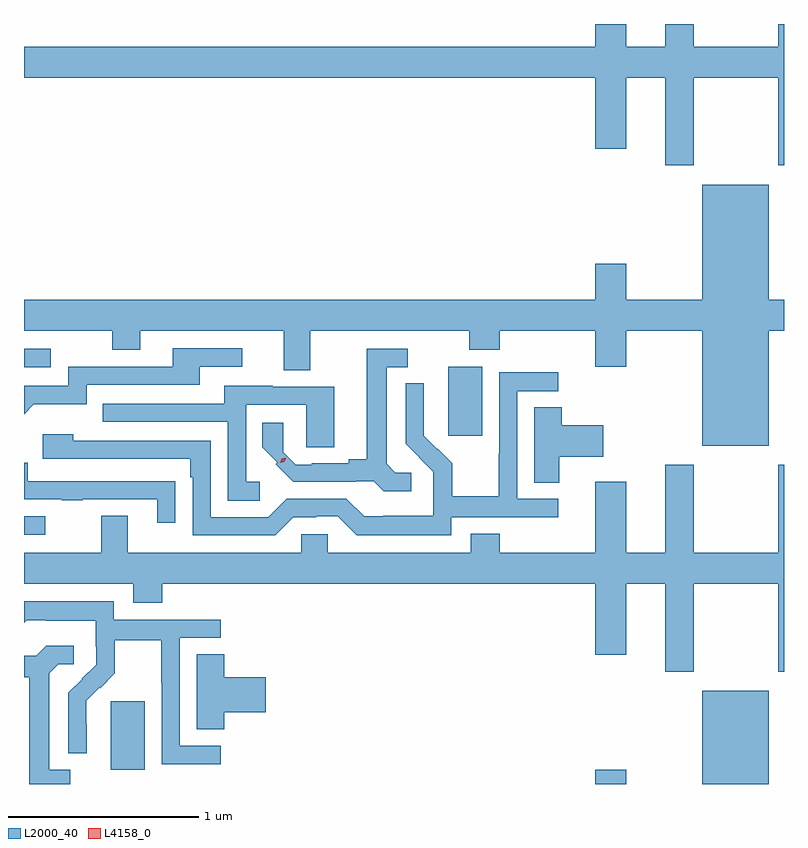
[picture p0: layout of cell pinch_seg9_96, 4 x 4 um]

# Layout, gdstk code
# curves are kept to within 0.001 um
import gdstk
lib = gdstk.Library(unit=1e-6, precision=1e-09)
def R(c, l, rs):  # rectangles x0, y0, x1, y1
    for r in rs: c.add(gdstk.rectangle(r[:2], r[2:], *l))
def P(c, l, *ps):  # polygons
    for p in ps: c.add(gdstk.Polygon(p, *l))
L2000_40 = (2000, 40)
L4158_0 = (4158, 0)

pinch_seg9_96 = lib.new_cell('pinch_seg9_96')
R(pinch_seg9_96, L2000_40, [(1147.802,1190.039,1147.966,1190.113), (1148.366,1190.039,1148.716,1190.53), (1145.252,1190.114,1145.431,1190.475), (1144.795,1191.351,1144.906,1191.447), (1147.028,1191.873,1147.207,1192.234), (1144.795,1192.233,1144.936,1192.329)])
P(pinch_seg9_96, L2000_40, [(1148.319,1193.756),(1148.764,1193.756),(1148.764,1193.295),(1148.795,1193.295),(1148.795,1194.039),(1148.764,1194.039),(1148.764,1193.92),(1148.319,1193.92),(1148.319,1194.039),(1148.171,1194.039),(1148.171,1193.92),(1147.966,1193.92),(1147.966,1194.039),(1147.802,1194.039),(1147.802,1193.92),(1144.795,1193.92),(1144.795,1193.756),(1147.802,1193.756),(1147.802,1193.382),(1147.966,1193.382),(1147.966,1193.756),(1148.171,1193.756),(1148.171,1193.295),(1148.319,1193.295)],
  [(1148.716,1192.424),(1148.795,1192.424),(1148.795,1192.588),(1148.716,1192.588),(1148.716,1193.194),(1148.366,1193.194),(1148.366,1192.588),(1147.966,1192.588),(1147.966,1192.777),(1147.802,1192.777),(1147.802,1192.588),(1144.795,1192.588),(1144.795,1192.424),(1145.26,1192.424),(1145.26,1192.325),(1145.407,1192.325),(1145.407,1192.424),(1146.161,1192.424),(1146.161,1192.216),(1146.301,1192.216),(1146.301,1192.424),(1147.138,1192.424),(1147.138,1192.325),(1147.298,1192.325),(1147.298,1192.424),(1147.802,1192.424),(1147.802,1192.236),(1147.966,1192.236),(1147.966,1192.424),(1148.366,1192.424),(1148.366,1191.818),(1148.716,1191.818)],
  [(1144.847,1192.037),(1145.124,1192.037),(1145.124,1192.14),(1145.719,1192.14),(1145.719,1192.236),(1145.944,1192.236),(1145.944,1192.332),(1145.579,1192.332),(1145.579,1192.236),(1145.028,1192.236),(1145.028,1192.134),(1144.795,1192.134),(1144.795,1191.985)],
  [(1146.832,1191.678),(1146.75,1191.678),(1146.703,1191.725),(1146.703,1192.233),(1146.814,1192.233),(1146.814,1192.329),(1146.599,1192.329),(1146.599,1191.749),(1146.503,1191.749),(1146.503,1191.726),(1146.31,1191.726),(1146.31,1191.72),(1146.225,1191.72),(1146.159,1191.786),(1146.159,1191.94),(1146.049,1191.94),(1146.049,1191.811),(1146.129,1191.732),(1146.12,1191.723),(1146.213,1191.63),(1146.542,1191.63),(1146.542,1191.633),(1146.636,1191.633),(1146.688,1191.581),(1146.832,1191.581)],
  [(1147.044,1191.444),(1147.606,1191.444),(1147.606,1191.54),(1147.392,1191.54),(1147.392,1192.107),(1147.606,1192.107),(1147.606,1192.206),(1147.296,1192.206),(1147.296,1191.776),(1147.294,1191.776),(1147.294,1191.553),(1147.049,1191.553),(1147.049,1191.727),(1146.972,1191.804),(1146.969,1191.801),(1146.899,1191.872),(1146.9,1192.148),(1146.804,1192.148),(1146.804,1191.83),(1146.95,1191.682),(1146.95,1191.585),(1146.948,1191.585),(1146.948,1191.451),(1146.685,1191.451),(1146.685,1191.447),(1146.585,1191.447),(1146.492,1191.54),(1146.177,1191.54),(1146.081,1191.444),(1145.778,1191.444),(1145.778,1191.846),(1145.054,1191.846),(1145.054,1191.88),(1144.893,1191.88),(1144.893,1191.75),(1145.669,1191.75),(1145.669,1191.653),(1145.682,1191.653),(1145.682,1191.348),(1146.117,1191.348),(1146.213,1191.444),(1146.332,1191.444),(1146.332,1191.447),(1146.447,1191.447),(1146.547,1191.347),(1147.044,1191.347)],
  [(1146.037,1191.63),(1145.964,1191.63),(1145.964,1192.035),(1146.281,1192.035),(1146.281,1191.811),(1146.427,1191.811),(1146.427,1192.131),(1146.103,1192.131),(1146.103,1192.135),(1145.849,1192.135),(1145.849,1192.041),(1145.209,1192.041),(1145.209,1191.945),(1145.868,1191.945),(1145.868,1191.529),(1146.037,1191.529)],
  [(1147.612,1191.761),(1147.843,1191.761),(1147.843,1191.927),(1147.625,1191.927),(1147.625,1192.022),(1147.481,1192.022),(1147.481,1191.625),(1147.612,1191.625)],
  [(1145.591,1191.632),(1145.489,1191.632),(1145.489,1191.633),(1144.814,1191.633),(1144.814,1191.73),(1144.795,1191.73),(1144.795,1191.537),(1144.993,1191.537),(1144.993,1191.532),(1145.105,1191.532),(1145.105,1191.537),(1145.495,1191.537),(1145.495,1191.414),(1145.591,1191.414)],
  [(1148.319,1191.092),(1148.764,1191.092),(1148.764,1190.631),(1148.795,1190.631),(1148.795,1191.718),(1148.764,1191.718),(1148.764,1191.256),(1148.319,1191.256),(1148.319,1191.718),(1148.171,1191.718),(1148.171,1191.256),(1147.966,1191.256),(1147.966,1191.631),(1147.802,1191.631),(1147.802,1191.256),(1147.298,1191.256),(1147.298,1191.355),(1147.145,1191.355),(1147.145,1191.256),(1146.393,1191.256),(1146.393,1191.354),(1146.255,1191.354),(1146.255,1191.256),(1145.341,1191.256),(1145.341,1191.451),(1145.201,1191.451),(1145.201,1191.256),(1144.795,1191.256),(1144.795,1191.092),(1145.369,1191.092),(1145.369,1190.993),(1145.522,1190.993),(1145.522,1191.092),(1147.802,1191.092),(1147.802,1190.718),(1147.966,1190.718),(1147.966,1191.092),(1148.171,1191.092),(1148.171,1190.631),(1148.319,1190.631)],
  [(1145.83,1190.241),(1145.616,1190.241),(1145.616,1190.808),(1145.83,1190.808),(1145.83,1190.904),(1145.268,1190.904),(1145.268,1191.001),(1144.795,1191.001),(1144.795,1190.887),(1144.809,1190.901),(1144.909,1190.901),(1144.909,1190.897),(1145.172,1190.897),(1145.172,1190.763),(1145.174,1190.763),(1145.174,1190.666),(1145.028,1190.518),(1145.028,1190.2),(1145.124,1190.2),(1145.123,1190.477),(1145.193,1190.547),(1145.196,1190.544),(1145.273,1190.621),(1145.273,1190.796),(1145.518,1190.796),(1145.518,1190.572),(1145.52,1190.572),(1145.52,1190.143),(1145.83,1190.143)],
  [(1145.038,1190.115),(1144.927,1190.115),(1144.927,1190.623),(1144.974,1190.67),(1145.056,1190.67),(1145.056,1190.767),(1144.912,1190.767),(1144.86,1190.715),(1144.795,1190.715),(1144.795,1190.6),(1144.823,1190.6),(1144.823,1190.039),(1145.038,1190.039)],
  [(1145.849,1190.417),(1146.067,1190.417),(1146.067,1190.6),(1145.849,1190.6),(1145.849,1190.723),(1145.705,1190.723),(1145.705,1190.326),(1145.849,1190.326)])
P(pinch_seg9_96, L4158_0, [(1146.143,1191.73),(1146.143,1191.73),(1146.151,1191.75),(1146.173,1191.755),(1146.173,1191.755),(1146.173,1191.754),(1146.164,1191.734),(1146.143,1191.73)])

lib.write_gds('pinch_seg9_96.gds')
